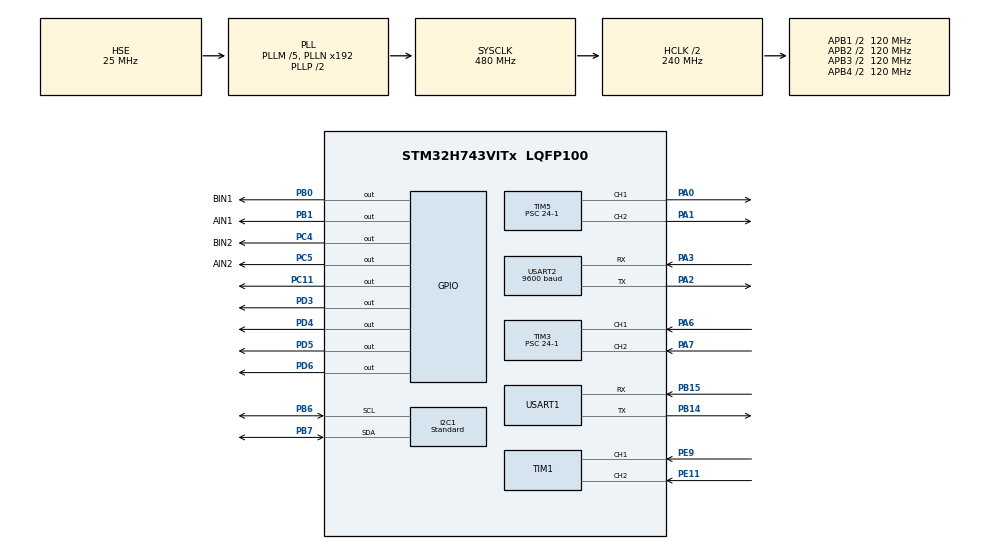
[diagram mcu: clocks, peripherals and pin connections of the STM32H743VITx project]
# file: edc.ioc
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CORTEX_M7.AccessPermission-Cortex_Memory_Protection_Unit_Region0_Settings=MPU_REGION_FULL_ACCESS
CORTEX_M7.AccessPermission-Cortex_Memory_Protection_Unit_Region1_Settings=MPU_REGION_FULL_ACCESS
CORTEX_M7.AccessPermission-Cortex_Memory_Protection_Unit_Region2_Settings=MPU_REGION_FULL_ACCESS
CORTEX_M7.AccessPermission-Cortex_Memory_Protection_Unit_Region3_Settings=MPU_REGION_FULL_ACCESS
CORTEX_M7.AccessPermission-Cortex_Memory_Protection_Unit_Region4_Settings=MPU_REGION_FULL_ACCESS
CORTEX_M7.BaseAddress-Cortex_Memory_Protection_Unit_Region0_Settings=0x24000000
CORTEX_M7.BaseAddress-Cortex_Memory_Protection_Unit_Region1_Settings=0x30000000
CORTEX_M7.BaseAddress-Cortex_Memory_Protection_Unit_Region2_Settings=0x30020000
CORTEX_M7.BaseAddress-Cortex_Memory_Protection_Unit_Region3_Settings=0x30040000
CORTEX_M7.BaseAddress-Cortex_Memory_Protection_Unit_Region4_Settings=0x38000000
CORTEX_M7.CPU_DCache=Enabled
CORTEX_M7.CPU_ICache=Enabled
CORTEX_M7.Enable-Cortex_Memory_Protection_Unit_Region0_Settings=MPU_REGION_ENABLE
CORTEX_M7.Enable-Cortex_Memory_Protection_Unit_Region1_Settings=MPU_REGION_ENABLE
CORTEX_M7.Enable-Cortex_Memory_Protection_Unit_Region2_Settings=MPU_REGION_ENABLE
CORTEX_M7.Enable-Cortex_Memory_Protection_Unit_Region3_Settings=MPU_REGION_ENABLE
CORTEX_M7.Enable-Cortex_Memory_Protection_Unit_Region4_Settings=MPU_REGION_ENABLE
CORTEX_M7.IsBufferable-Cortex_Memory_Protection_Unit_Region0_Settings=MPU_ACCESS_BUFFERABLE
CORTEX_M7.IsCacheable-Cortex_Memory_Protection_Unit_Region0_Settings=MPU_ACCESS_CACHEABLE
CORTEX_M7.MPU_Control=MPU_PRIVILEGED_DEFAULT
CORTEX_M7.Size-Cortex_Memory_Protection_Unit_Region0_Settings=MPU_REGION_SIZE_512KB
CORTEX_M7.Size-Cortex_Memory_Protection_Unit_Region1_Settings=MPU_REGION_SIZE_128KB
CORTEX_M7.Size-Cortex_Memory_Protection_Unit_Region2_Settings=MPU_REGION_SIZE_128KB
CORTEX_M7.Size-Cortex_Memory_Protection_Unit_Region3_Settings=MPU_REGION_SIZE_32KB
CORTEX_M7.Size-Cortex_Memory_Protection_Unit_Region4_Settings=MPU_REGION_SIZE_64KB
CORTEX_M7.TypeExtField-Cortex_Memory_Protection_Unit_Region0_Settings=MPU_TEX_LEVEL1
CORTEX_M7.TypeExtField-Cortex_Memory_Protection_Unit_Region1_Settings=MPU_TEX_LEVEL1
CORTEX_M7.TypeExtField-Cortex_Memory_Protection_Unit_Region2_Settings=MPU_TEX_LEVEL1
CORTEX_M7.TypeExtField-Cortex_Memory_Protection_Unit_Region3_Settings=MPU_TEX_LEVEL1
CORTEX_M7.TypeExtField-Cortex_Memory_Protection_Unit_Region4_Settings=MPU_TEX_LEVEL1
I2C1.I2C_Speed_Mode=I2C_Standard
I2C1.Timing=0x307075B1
Mcu.Family=STM32H7
Mcu.Name=STM32H743VITx
Mcu.Package=LQFP100
NVIC.PriorityGroup=NVIC_PRIORITYGROUP_4
NVIC.TIM7_IRQn=true\:2\:0\:true\:false\:true\:true\:true\:true
NVIC.TIM8_UP_TIM13_IRQn=true\:1\:0\:true\:false\:true\:true\:true\:true
NVIC.USART2_IRQn=true\:0\:0\:false\:false\:true\:true\:true\:true
PA0.Signal=S_TIM5_CH1
PA1.Signal=S_TIM5_CH2
PA13\ (JTMS/SWDIO).Mode=Serial_Wire
PA13\ (JTMS/SWDIO).Signal=DEBUG_JTMS-SWDIO
PA14\ (JTCK/SWCLK).Mode=Serial_Wire
PA14\ (JTCK/SWCLK).Signal=DEBUG_JTCK-SWCLK
PA2.Mode=Asynchronous
PA2.Signal=USART2_TX
PA3.Mode=Asynchronous
PA3.Signal=USART2_RX
PA6.Signal=S_TIM3_CH1
PA7.Signal=S_TIM3_CH2
PB0.GPIO_Label=BIN1
PB0.Signal=GPIO_Output
PB1.GPIO_Label=AIN1
PB1.Signal=GPIO_Output
PB14.Mode=Asynchronous
PB14.Signal=USART1_TX
PB15.Mode=Asynchronous
PB15.Signal=USART1_RX
PB6.Mode=I2C
PB6.Signal=I2C1_SCL
PB7.Mode=I2C
PB7.Signal=I2C1_SDA
PC11.GPIO_PuPd=GPIO_PULLDOWN
PC11.PinState=GPIO_PIN_RESET
PC11.Signal=GPIO_Output
PC4.GPIO_Label=BIN2
PC4.Signal=GPIO_Output
PC5.GPIO_Label=AIN2
PC5.Signal=GPIO_Output
PD3.Signal=GPIO_Output
PD4.Signal=GPIO_Output
PD5.Signal=GPIO_Output
PD6.Signal=GPIO_Output
PE11.Signal=S_TIM1_CH2
PE9.Signal=S_TIM1_CH1
PH0-OSC_IN\ (PH0).Mode=HSE-External-Oscillator
PH0-OSC_IN\ (PH0).Signal=RCC_OSC_IN
PH1-OSC_OUT\ (PH1).Mode=HSE-External-Oscillator
PH1-OSC_OUT\ (PH1).Signal=RCC_OSC_OUT
ProjectManager.HeapSize=0x10000
ProjectManager.StackSize=0x7400
ProjectManager.TargetToolchain=MDK-ARM V5.32
RCC.ADCFreq_Value=50390625
RCC.APB1Freq_Value=120000000
RCC.APB2Freq_Value=120000000
RCC.APB3Freq_Value=120000000
RCC.APB4Freq_Value=120000000
RCC.CortexFreq_Value=480000000
RCC.D1PPRE=RCC_APB3_DIV2
RCC.D2PPRE1=RCC_APB1_DIV2
RCC.D2PPRE2=RCC_APB2_DIV2
RCC.D3PPRE=RCC_APB4_DIV2
RCC.DIVM1=5
RCC.DIVN1=192
RCC.HCLKFreq_Value=240000000
RCC.HPRE=RCC_HCLK_DIV2
RCC.PLLSourceVirtual=RCC_PLLSOURCE_HSE
RCC.ProductRev=revV
RCC.SYSCLKFreq_VALUE=480000000
RCC.SYSCLKSource=RCC_SYSCLKSOURCE_PLLCLK
RCC.USBFreq_Value=480000000
SH.S_TIM1_CH1.0=TIM1_CH1,Encoder_Interface
SH.S_TIM1_CH2.0=TIM1_CH2,Encoder_Interface
SH.S_TIM3_CH1.0=TIM3_CH1,Encoder_Interface
SH.S_TIM3_CH2.0=TIM3_CH2,Encoder_Interface
SH.S_TIM5_CH1.0=TIM5_CH1,PWM Generation1 CH1
SH.S_TIM5_CH2.0=TIM5_CH2,PWM Generation2 CH2
TIM1.IC1Filter=7
TIM1.IC2Filter=7
TIM13.AutoReloadPreload=TIM_AUTORELOAD_PRELOAD_DISABLE
TIM13.Period=50000-1
TIM13.Prescaler=2400-1
TIM3.IC1Filter=7
TIM3.IC2Filter=7
TIM3.Period=1000-1
TIM3.Prescaler=24-1
TIM5.Channel-PWM\ Generation1\ CH1=TIM_CHANNEL_1
TIM5.Channel-PWM\ Generation2\ CH2=TIM_CHANNEL_2
TIM5.Period=1000-1
TIM5.Prescaler=24-1
TIM7.Prescaler=239
USART1.VirtualMode-Asynchronous=VM_ASYNC
USART2.BaudRate=9600
USART2.VirtualMode-Asynchronous=VM_ASYNC
VP_TIM13_VS_ClockSourceINT.Mode=Enable_Timer
VP_TIM5_VS_ClockSourceINT.Mode=Internal
VP_TIM7_VS_ClockSourceINT.Mode=Enable_Timer
board=custom

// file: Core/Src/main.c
/* USER CODE BEGIN Header */
/**
  ******************************************************************************
  * @file           : main.c
  * @brief          : Main program body
  ******************************************************************************
  * @attention
  *
  * Copyright (c) 2025 STMicroelectronics.
  * All rights reserved.
  *
  * This software is licensed under terms that can be found in the LICENSE file
  * in the root directory of this software component.
  * If no LICENSE file comes with this software, it is provided AS-IS.
  *
  ******************************************************************************
  */
/* USER CODE END Header */
#include "main.h"
#include "i2c.h"
#include "tim.h"
#include "usart.h"
#include "gpio.h"

/* USER CODE BEGIN Includes */
#include "AllHeader.h"

/* USER CODE END Includes */

/* USER CODE BEGIN PTD */

//These are the value of the changing value between two sampling time point,
//meaningt that they are not the speed the value in real world.

/* USER CODE END PTD */

/* USER CODE BEGIN PV */
//感为传感器数据变量
int Digtal[8];

//JY61P陀螺仪数据变量
uint8_t GyroscopeUsart3RxBuffer[33];      //接收缓存
double GyroscopeChannelData[10];
uint8_t tempBuffer=0,RxBuffer;

/* USER CODE END PV */

void SystemClock_Config(void);
static void MPU_Initialize(void);
static void MPU_Config(void);
/* USER CODE BEGIN PFP */
void lineWalking(void);
/* USER CODE END PFP */

int main(void)
{

  /* Enable I-Cache---------------------------------------------------------*/
  SCB_EnableICache();

  /* Enable D-Cache---------------------------------------------------------*/
  SCB_EnableDCache();

  /* MCU Configuration--------------------------------------------------------*/

  /* Reset of all peripherals, Initializes the Flash interface and the Systick. */
  HAL_Init();

  /* MPU Configuration--------------------------------------------------------*/
  MPU_Config();

  /* Configure the system clock */
  SystemClock_Config();

  /* Initialize all configured peripherals */
  MX_GPIO_Init();
  MX_TIM7_Init();
  MX_USART1_UART_Init();
  MX_TIM1_Init();
  MX_TIM3_Init();
  MX_TIM13_Init();
  MX_I2C1_Init();
  MX_TIM5_Init();
  MX_USART2_UART_Init();
  /* USER CODE BEGIN 2 */
	// 电机编码器初始化
	Motor Left, Right;
	MEInit(&Left, &Right);
	//JY61P初始化
	JY61P_Init(&huart2);
  /* USER CODE END 2 */

  /* Infinite loop */
  /* USER CODE BEGIN WHILE */
  while (1)
  {
    UpdateData_Car(); // 车辆状态更新
		IIC_Get_Digtal(Digtal);
		lineWalking_low();
    /* USER CODE END WHILE */

  }
}

void SystemClock_Config(void)
{
  RCC_OscInitTypeDef RCC_OscInitStruct = {0};
  RCC_ClkInitTypeDef RCC_ClkInitStruct = {0};

  /** Supply configuration update enable
  */
  HAL_PWREx_ConfigSupply(PWR_LDO_SUPPLY);

  /** Configure the main internal regulator output voltage
  */
  __HAL_PWR_VOLTAGESCALING_CONFIG(PWR_REGULATOR_VOLTAGE_SCALE1);

  while(!__HAL_PWR_GET_FLAG(PWR_FLAG_VOSRDY)) {}

  __HAL_RCC_SYSCFG_CLK_ENABLE();
  __HAL_PWR_VOLTAGESCALING_CONFIG(PWR_REGULATOR_VOLTAGE_SCALE0);

  while(!__HAL_PWR_GET_FLAG(PWR_FLAG_VOSRDY)) {}

  /** Initializes the RCC Oscillators according to the specified parameters
  * in the RCC_OscInitTypeDef structure.
  */
  RCC_OscInitStruct.OscillatorType = RCC_OSCILLATORTYPE_HSE;
  RCC_OscInitStruct.HSEState = RCC_HSE_ON;
  RCC_OscInitStruct.PLL.PLLState = RCC_PLL_ON;
  RCC_OscInitStruct.PLL.PLLSource = RCC_PLLSOURCE_HSE;
  RCC_OscInitStruct.PLL.PLLM = 5;
  RCC_OscInitStruct.PLL.PLLN = 192;
  RCC_OscInitStruct.PLL.PLLP = 2;
  RCC_OscInitStruct.PLL.PLLQ = 2;
  RCC_OscInitStruct.PLL.PLLR = 2;
  RCC_OscInitStruct.PLL.PLLRGE = RCC_PLL1VCIRANGE_2;
  RCC_OscInitStruct.PLL.PLLVCOSEL = RCC_PLL1VCOWIDE;
  RCC_OscInitStruct.PLL.PLLFRACN = 0;
  if (HAL_RCC_OscConfig(&RCC_OscInitStruct) != HAL_OK)
  {
    Error_Handler();
  }

  /** Initializes the CPU, AHB and APB buses clocks
  */
  RCC_ClkInitStruct.ClockType = RCC_CLOCKTYPE_HCLK|RCC_CLOCKTYPE_SYSCLK
                              |RCC_CLOCKTYPE_PCLK1|RCC_CLOCKTYPE_PCLK2
                              |RCC_CLOCKTYPE_D3PCLK1|RCC_CLOCKTYPE_D1PCLK1;
  RCC_ClkInitStruct.SYSCLKSource = RCC_SYSCLKSOURCE_PLLCLK;
  RCC_ClkInitStruct.SYSCLKDivider = RCC_SYSCLK_DIV1;
  RCC_ClkInitStruct.AHBCLKDivider = RCC_HCLK_DIV2;
  RCC_ClkInitStruct.APB3CLKDivider = RCC_APB3_DIV2;
  RCC_ClkInitStruct.APB1CLKDivider = RCC_APB1_DIV2;
  RCC_ClkInitStruct.APB2CLKDivider = RCC_APB2_DIV2;
  RCC_ClkInitStruct.APB4CLKDivider = RCC_APB4_DIV2;

  if (HAL_RCC_ClockConfig(&RCC_ClkInitStruct, FLASH_LATENCY_4) != HAL_OK)
  {
    Error_Handler();
  }
}

/* USER CODE BEGIN 4 */
// ...existing code...

void HAL_TIM_PeriodElapsedCallback(TIM_HandleTypeDef *htim)
{

	if (htim->Instance == TIM13){

	}
}

void HAL_UART_RxCpltCallback(UART_HandleTypeDef *huart) //中断处理函数
{
  if(huart->Instance == USART2)
	{
		IT_JY61P();
	}
}
void HAL_UART_ErrorCallback(UART_HandleTypeDef *huart) //中断回调函数
{
        if(RESET != __HAL_UART_GET_FLAG(huart,UART_FLAG_IDLE))   //判断是否是空闲中断
        {
            __HAL_UART_CLEAR_IDLEFLAG(&huart2);                     //清楚空闲中断标志（否则会一直不断进入中断）
            HAL_UART_RxCpltCallback(&huart2);                          //调用中断处理函数
        }
}
// ...existing code...
/* USER CODE END 4 */

/* MPU Configuration */

void MPU_Config(void)
{
  MPU_Region_InitTypeDef MPU_InitStruct = {0};

  /* Disables the MPU */
  HAL_MPU_Disable();

  /** Initializes and configures the Region and the memory to be protected
  */
  MPU_InitStruct.Enable = MPU_REGION_ENABLE;
  MPU_InitStruct.Number = MPU_REGION_NUMBER0;
  MPU_InitStruct.BaseAddress = 0x24000000;
  MPU_InitStruct.Size = MPU_REGION_SIZE_512KB;
  MPU_InitStruct.SubRegionDisable = 0x0;
  MPU_InitStruct.TypeExtField = MPU_TEX_LEVEL1;
  MPU_InitStruct.AccessPermission = MPU_REGION_FULL_ACCESS;
  MPU_InitStruct.DisableExec = MPU_INSTRUCTION_ACCESS_ENABLE;
  MPU_InitStruct.IsShareable = MPU_ACCESS_NOT_SHAREABLE;
  MPU_InitStruct.IsCacheable = MPU_ACCESS_CACHEABLE;
  MPU_InitStruct.IsBufferable = MPU_ACCESS_BUFFERABLE;

  HAL_MPU_ConfigRegion(&MPU_InitStruct);

  /** Initializes and configures the Region and the memory to be protected
  */
  MPU_InitStruct.Number = MPU_REGION_NUMBER1;
  MPU_InitStruct.BaseAddress = 0x30000000;
  MPU_InitStruct.Size = MPU_REGION_SIZE_128KB;
  MPU_InitStruct.IsCacheable = MPU_ACCESS_NOT_CACHEABLE;
  MPU_InitStruct.IsBufferable = MPU_ACCESS_NOT_BUFFERABLE;

  HAL_MPU_ConfigRegion(&MPU_InitStruct);

  /** Initializes and configures the Region and the memory to be protected
  */
  MPU_InitStruct.Number = MPU_REGION_NUMBER2;
  MPU_InitStruct.BaseAddress = 0x30020000;

  HAL_MPU_ConfigRegion(&MPU_InitStruct);

  /** Initializes and configures the Region and the memory to be protected
  */
  MPU_InitStruct.Number = MPU_REGION_NUMBER3;
  MPU_InitStruct.BaseAddress = 0x30040000;
  MPU_InitStruct.Size = MPU_REGION_SIZE_32KB;

  HAL_MPU_ConfigRegion(&MPU_InitStruct);

  /** Initializes and configures the Region and the memory to be protected
  */
  MPU_InitStruct.Number = MPU_REGION_NUMBER4;
  MPU_InitStruct.BaseAddress = 0x38000000;
  MPU_InitStruct.Size = MPU_REGION_SIZE_64KB;

  HAL_MPU_ConfigRegion(&MPU_InitStruct);
  /* Enables the MPU */
  HAL_MPU_Enable(MPU_PRIVILEGED_DEFAULT);

}

void Error_Handler(void)
{
  __disable_irq();
  while (1)
  {
  }
}
